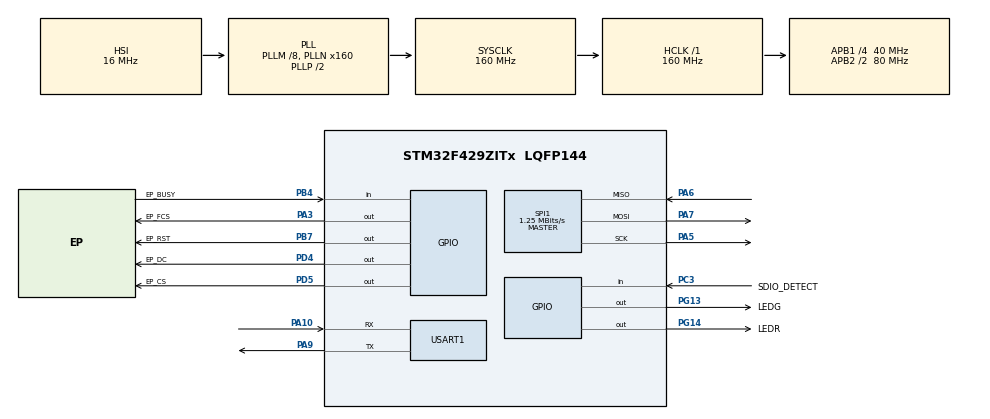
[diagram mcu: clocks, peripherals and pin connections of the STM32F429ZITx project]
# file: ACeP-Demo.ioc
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Mcu.Family=STM32F4
Mcu.Name=STM32F429ZITx
Mcu.Package=LQFP144
NVIC.PriorityGroup=NVIC_PRIORITYGROUP_4
NVIC.USART1_IRQn=true\:0\:0\:false\:false\:true\:true\:true
PA10.Mode=Asynchronous
PA10.Signal=USART1_RX
PA13.Mode=Serial_Wire
PA13.Signal=SYS_JTMS-SWDIO
PA14.Mode=Serial_Wire
PA14.Signal=SYS_JTCK-SWCLK
PA3.GPIO_Label=EP_FCS
PA3.Signal=GPIO_Output
PA5.GPIO_Speed=GPIO_SPEED_FREQ_MEDIUM
PA5.Mode=Full_Duplex_Master
PA5.Signal=SPI1_SCK
PA6.GPIO_Speed=GPIO_SPEED_FREQ_MEDIUM
PA6.Mode=Full_Duplex_Master
PA6.Signal=SPI1_MISO
PA7.GPIO_Speed=GPIO_SPEED_FREQ_MEDIUM
PA7.Mode=Full_Duplex_Master
PA7.Signal=SPI1_MOSI
PA9.Mode=Asynchronous
PA9.Signal=USART1_TX
PB4.GPIO_Label=EP_BUSY
PB4.Signal=GPIO_Input
PB7.GPIO_Label=EP_RST
PB7.GPIO_Speed=GPIO_SPEED_FREQ_LOW
PB7.Signal=GPIO_Output
PC3.GPIO_Label=SDIO_DETECT
PC3.GPIO_PuPd=GPIO_PULLUP
PC3.Signal=GPIO_Input
PD4.GPIO_Label=EP_DC
PD4.GPIO_Speed=GPIO_SPEED_FREQ_MEDIUM
PD4.Signal=GPIO_Output
PD5.GPIO_Label=EP_CS
PD5.GPIO_Speed=GPIO_SPEED_FREQ_MEDIUM
PD5.Signal=GPIO_Output
PG13.GPIO_Label=LEDG
PG13.Signal=GPIO_Output
PG14.GPIO_Label=LEDR
PG14.Signal=GPIO_Output
PH0/OSC_IN.Mode=HSE-External-Oscillator
PH0/OSC_IN.Signal=RCC_OSC_IN
PH1/OSC_OUT.Mode=HSE-External-Oscillator
PH1/OSC_OUT.Signal=RCC_OSC_OUT
ProjectManager.HeapSize=0x200
ProjectManager.StackSize=0x800
ProjectManager.TargetToolchain=STM32CubeIDE
RCC.48MHZClocksFreq_Value=45714285.71428572
RCC.AHBFreq_Value=160000000
RCC.APB1CLKDivider=RCC_HCLK_DIV4
RCC.APB1Freq_Value=40000000
RCC.APB1TimFreq_Value=80000000
RCC.APB2CLKDivider=RCC_HCLK_DIV2
RCC.APB2Freq_Value=80000000
RCC.APB2TimFreq_Value=160000000
RCC.CortexFreq_Value=160000000
RCC.HCLKFreq_Value=160000000
RCC.HSE_VALUE=8000000
RCC.HSI_VALUE=16000000
RCC.LSE_VALUE=32768
RCC.PLLM=8
RCC.PLLN=160
RCC.PLLQ=7
RCC.PLLSAIDivR=RCC_PLLSAIDIVR_4
RCC.PLLSAIN=50
RCC.SYSCLKFreq_VALUE=160000000
RCC.SYSCLKSource=RCC_SYSCLKSOURCE_PLLCLK
RCC.VCOOutputFreq_Value=320000000
SPI1.BaudRatePrescaler=SPI_BAUDRATEPRESCALER_64
SPI1.CalculateBaudRate=1.25 MBits/s
SPI1.Direction=SPI_DIRECTION_2LINES
SPI1.Mode=SPI_MODE_MASTER
SPI1.VirtualType=VM_MASTER
USART1.VirtualMode=VM_ASYNC
board=custom

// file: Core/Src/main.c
/* USER CODE BEGIN Header */
/**
  ******************************************************************************
  * @file           : main.c
  * @brief          : Main program body
  ******************************************************************************
  * @attention
  *
  * <h2><center>&copy; Copyright (c) 2021 STMicroelectronics.
  * All rights reserved.</center></h2>
  *
  * This software component is licensed by ST under BSD 3-Clause license,
  * the "License"; You may not use this file except in compliance with the
  * License. You may obtain a copy of the License at:
  *                        opensource.org/licenses/BSD-3-Clause
  *
  ******************************************************************************
  */
/* USER CODE END Header */

#include "main.h"

/* USER CODE BEGIN Includes */
#include <stdio.h>
#include <stdlib.h>
#include <ctype.h>
#include <stdbool.h>
#include <stdint.h>

#include "cmd/parser.h"
#include "SPD1656.h"
/* USER CODE END Includes */

SPI_HandleTypeDef hspi1;

UART_HandleTypeDef huart1;

void SystemClock_Config(void);
static void MX_GPIO_Init(void);
static void MX_USART1_UART_Init(void);
static void MX_SPI1_Init(void);

int main(void)
{

  /* MCU Configuration--------------------------------------------------------*/

  /* Reset of all peripherals, Initializes the Flash interface and the Systick. */
  HAL_Init();

  /* Configure the system clock */
  SystemClock_Config();

  /* Initialize all configured peripherals */
  MX_GPIO_Init();
  MX_USART1_UART_Init();
  MX_SPI1_Init();
  /* USER CODE BEGIN 2 */

	//Initialize command parser
  CMD_Init(&huart1);

  //Initialize display
  printf("Display initialization... ");
  EPD_Status_t res = EPD_Init();
  printf("%s\n", res == EPD_OK ? "OK" : "ERROR!");

  /* USER CODE END 2 */

  /* Infinite loop */
  while (1)
  {

    /* USER CODE BEGIN 3 */

  //Handle commands from the serial port
	HAL_GPIO_WritePin(LEDR_GPIO_Port, LEDR_Pin, GPIO_PIN_SET);
  	CMD_TryParse();
  	HAL_GPIO_WritePin(LEDR_GPIO_Port, LEDR_Pin, GPIO_PIN_RESET);
    HAL_Delay(100);
  }
  /* USER CODE END 3 */
}

void SystemClock_Config(void)
{
  RCC_OscInitTypeDef RCC_OscInitStruct = {0};
  RCC_ClkInitTypeDef RCC_ClkInitStruct = {0};

  /** Configure the main internal regulator output voltage
  */
  __HAL_RCC_PWR_CLK_ENABLE();
  __HAL_PWR_VOLTAGESCALING_CONFIG(PWR_REGULATOR_VOLTAGE_SCALE1);
  /** Initializes the CPU, AHB and APB busses clocks
  */
  RCC_OscInitStruct.OscillatorType = RCC_OSCILLATORTYPE_HSI;
  RCC_OscInitStruct.HSIState = RCC_HSI_ON;
  RCC_OscInitStruct.HSICalibrationValue = RCC_HSICALIBRATION_DEFAULT;
  RCC_OscInitStruct.PLL.PLLState = RCC_PLL_ON;
  RCC_OscInitStruct.PLL.PLLSource = RCC_PLLSOURCE_HSI;
  RCC_OscInitStruct.PLL.PLLM = 8;
  RCC_OscInitStruct.PLL.PLLN = 160;
  RCC_OscInitStruct.PLL.PLLP = RCC_PLLP_DIV2;
  RCC_OscInitStruct.PLL.PLLQ = 7;
  if (HAL_RCC_OscConfig(&RCC_OscInitStruct) != HAL_OK)
  {
    Error_Handler();
  }
  /** Initializes the CPU, AHB and APB busses clocks
  */
  RCC_ClkInitStruct.ClockType = RCC_CLOCKTYPE_HCLK|RCC_CLOCKTYPE_SYSCLK
                              |RCC_CLOCKTYPE_PCLK1|RCC_CLOCKTYPE_PCLK2;
  RCC_ClkInitStruct.SYSCLKSource = RCC_SYSCLKSOURCE_PLLCLK;
  RCC_ClkInitStruct.AHBCLKDivider = RCC_SYSCLK_DIV1;
  RCC_ClkInitStruct.APB1CLKDivider = RCC_HCLK_DIV4;
  RCC_ClkInitStruct.APB2CLKDivider = RCC_HCLK_DIV2;

  if (HAL_RCC_ClockConfig(&RCC_ClkInitStruct, FLASH_LATENCY_5) != HAL_OK)
  {
    Error_Handler();
  }
}

static void MX_SPI1_Init(void)
{

  /* SPI1 parameter configuration*/
  hspi1.Instance = SPI1;
  hspi1.Init.Mode = SPI_MODE_MASTER;
  hspi1.Init.Direction = SPI_DIRECTION_2LINES;
  hspi1.Init.DataSize = SPI_DATASIZE_8BIT;
  hspi1.Init.CLKPolarity = SPI_POLARITY_LOW;
  hspi1.Init.CLKPhase = SPI_PHASE_1EDGE;
  hspi1.Init.NSS = SPI_NSS_SOFT;
  hspi1.Init.BaudRatePrescaler = SPI_BAUDRATEPRESCALER_64;
  hspi1.Init.FirstBit = SPI_FIRSTBIT_MSB;
  hspi1.Init.TIMode = SPI_TIMODE_DISABLE;
  hspi1.Init.CRCCalculation = SPI_CRCCALCULATION_DISABLE;
  hspi1.Init.CRCPolynomial = 10;
  if (HAL_SPI_Init(&hspi1) != HAL_OK)
  {
    Error_Handler();
  }

}

static void MX_USART1_UART_Init(void)
{

  huart1.Instance = USART1;
  huart1.Init.BaudRate = 115200;
  huart1.Init.WordLength = UART_WORDLENGTH_8B;
  huart1.Init.StopBits = UART_STOPBITS_1;
  huart1.Init.Parity = UART_PARITY_NONE;
  huart1.Init.Mode = UART_MODE_TX_RX;
  huart1.Init.HwFlowCtl = UART_HWCONTROL_NONE;
  huart1.Init.OverSampling = UART_OVERSAMPLING_16;
  if (HAL_UART_Init(&huart1) != HAL_OK)
  {
    Error_Handler();
  }

}

static void MX_GPIO_Init(void)
{
  GPIO_InitTypeDef GPIO_InitStruct = {0};

  /* GPIO Ports Clock Enable */
  __HAL_RCC_GPIOH_CLK_ENABLE();
  __HAL_RCC_GPIOC_CLK_ENABLE();
  __HAL_RCC_GPIOA_CLK_ENABLE();
  __HAL_RCC_GPIOD_CLK_ENABLE();
  __HAL_RCC_GPIOG_CLK_ENABLE();
  __HAL_RCC_GPIOB_CLK_ENABLE();

  /*Configure GPIO pin Output Level */
  HAL_GPIO_WritePin(EP_FCS_GPIO_Port, EP_FCS_Pin, GPIO_PIN_RESET);

  /*Configure GPIO pin Output Level */
  HAL_GPIO_WritePin(GPIOD, EP_DC_Pin|EP_CS_Pin, GPIO_PIN_RESET);

  /*Configure GPIO pin Output Level */
  HAL_GPIO_WritePin(GPIOG, LEDG_Pin|LEDR_Pin, GPIO_PIN_RESET);

  /*Configure GPIO pin Output Level */
  HAL_GPIO_WritePin(EP_RST_GPIO_Port, EP_RST_Pin, GPIO_PIN_RESET);

  /*Configure GPIO pin : SDIO_DETECT_Pin */
  GPIO_InitStruct.Pin = SDIO_DETECT_Pin;
  GPIO_InitStruct.Mode = GPIO_MODE_INPUT;
  GPIO_InitStruct.Pull = GPIO_PULLUP;
  HAL_GPIO_Init(SDIO_DETECT_GPIO_Port, &GPIO_InitStruct);

  /*Configure GPIO pin : EP_FCS_Pin */
  GPIO_InitStruct.Pin = EP_FCS_Pin;
  GPIO_InitStruct.Mode = GPIO_MODE_OUTPUT_PP;
  GPIO_InitStruct.Pull = GPIO_NOPULL;
  GPIO_InitStruct.Speed = GPIO_SPEED_FREQ_LOW;
  HAL_GPIO_Init(EP_FCS_GPIO_Port, &GPIO_InitStruct);

  /*Configure GPIO pins : EP_DC_Pin EP_CS_Pin */
  GPIO_InitStruct.Pin = EP_DC_Pin|EP_CS_Pin;
  GPIO_InitStruct.Mode = GPIO_MODE_OUTPUT_PP;
  GPIO_InitStruct.Pull = GPIO_NOPULL;
  GPIO_InitStruct.Speed = GPIO_SPEED_FREQ_MEDIUM;
  HAL_GPIO_Init(GPIOD, &GPIO_InitStruct);

  /*Configure GPIO pins : LEDG_Pin LEDR_Pin */
  GPIO_InitStruct.Pin = LEDG_Pin|LEDR_Pin;
  GPIO_InitStruct.Mode = GPIO_MODE_OUTPUT_PP;
  GPIO_InitStruct.Pull = GPIO_NOPULL;
  GPIO_InitStruct.Speed = GPIO_SPEED_FREQ_LOW;
  HAL_GPIO_Init(GPIOG, &GPIO_InitStruct);

  /*Configure GPIO pin : EP_BUSY_Pin */
  GPIO_InitStruct.Pin = EP_BUSY_Pin;
  GPIO_InitStruct.Mode = GPIO_MODE_INPUT;
  GPIO_InitStruct.Pull = GPIO_NOPULL;
  HAL_GPIO_Init(EP_BUSY_GPIO_Port, &GPIO_InitStruct);

  /*Configure GPIO pin : EP_RST_Pin */
  GPIO_InitStruct.Pin = EP_RST_Pin;
  GPIO_InitStruct.Mode = GPIO_MODE_OUTPUT_PP;
  GPIO_InitStruct.Pull = GPIO_NOPULL;
  GPIO_InitStruct.Speed = GPIO_SPEED_FREQ_LOW;
  HAL_GPIO_Init(EP_RST_GPIO_Port, &GPIO_InitStruct);

}

void Error_Handler(void)
{
}

/************************ (C) COPYRIGHT STMicroelectronics *****END OF FILE****/
